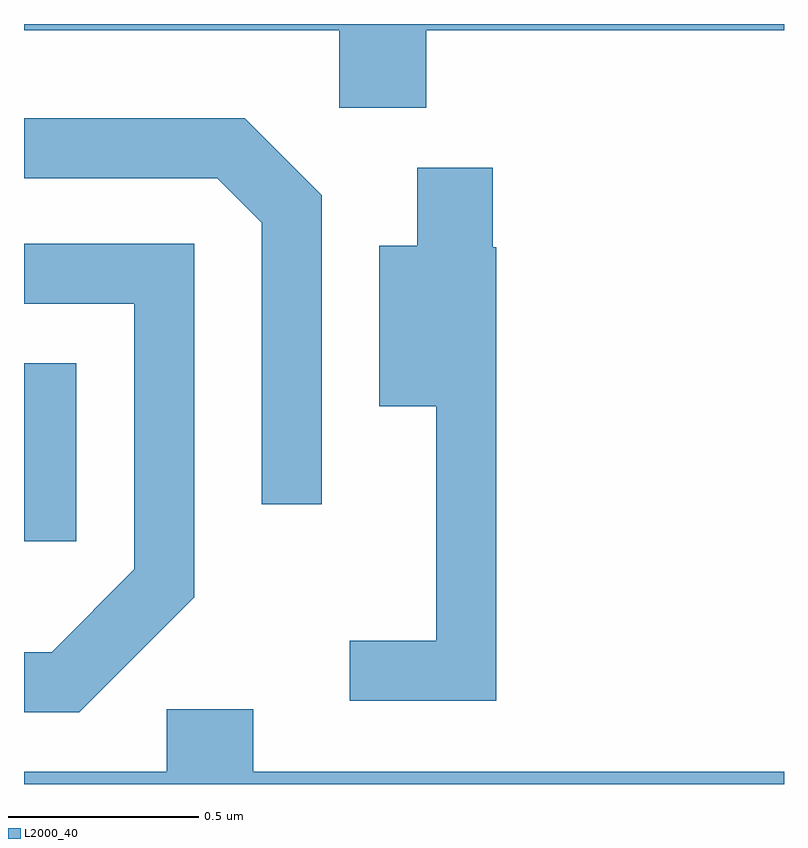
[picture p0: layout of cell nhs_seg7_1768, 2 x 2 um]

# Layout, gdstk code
import gdstk
lib = gdstk.Library(unit=1e-6, precision=1e-09)
def R(c, l, rs):  # rectangles x0, y0, x1, y1
    for r in rs: c.add(gdstk.rectangle(r[:2], r[2:], *l))
def P(c, l, *ps):  # polygons
    for p in ps: c.add(gdstk.Polygon(p, *l))
L2000_40 = (2000, 40)

nhs_seg7_1768 = lib.new_cell('nhs_seg7_1768')
R(nhs_seg7_1768, L2000_40, [(197.611,1792.891,197.749,1793.359)])
P(nhs_seg7_1768, L2000_40, [(198.669,1794.236),(199.611,1794.236),(199.611,1794.252),(197.611,1794.252),(197.611,1794.236),(198.441,1794.236),(198.441,1794.031),(198.669,1794.031)],
  [(198.394,1793.802),(198.192,1794.004),(197.611,1794.004),(197.611,1793.846),(198.119,1793.846),(198.236,1793.729),(198.236,1792.988),(198.394,1792.988)],
  [(198.854,1793.665),(198.844,1793.665),(198.844,1793.874),(198.646,1793.874),(198.646,1793.669),(198.546,1793.669),(198.546,1793.246),(198.696,1793.246),(198.696,1792.629),(198.468,1792.629),(198.468,1792.471),(198.854,1792.471)],
  [(198.059,1792.744),(198.059,1793.674),(197.611,1793.674),(197.611,1793.516),(197.901,1793.516),(197.901,1792.817),(197.684,1792.599),(197.611,1792.599),(197.611,1792.441),(197.757,1792.441)],
  [(199.611,1792.284),(198.214,1792.284),(198.214,1792.449),(197.986,1792.449),(197.986,1792.284),(197.611,1792.284),(197.611,1792.252),(199.611,1792.252)])

lib.write_gds('nhs_seg7_1768.gds')
